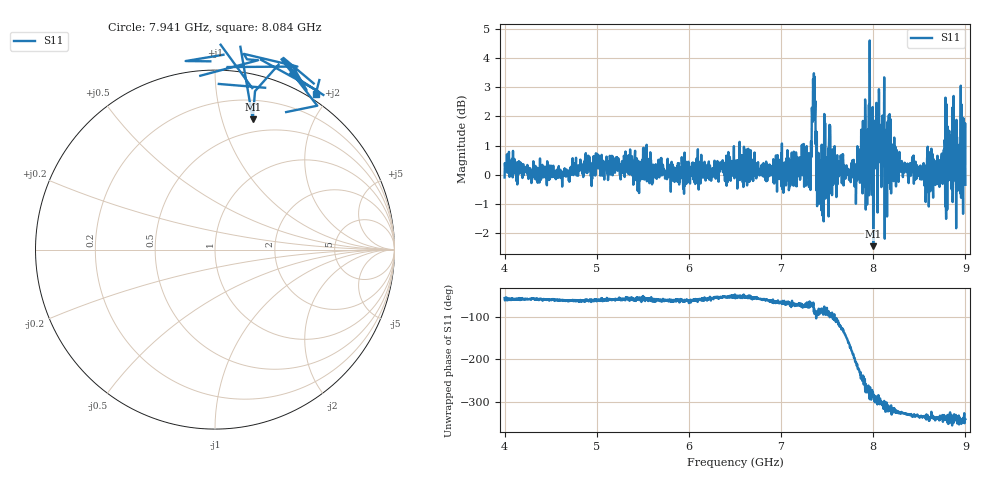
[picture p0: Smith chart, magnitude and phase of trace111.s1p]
! Created with skrf 1.8.0 (http://scikit-rf.org).
# Hz S RI R 50.0
!freq ReS11 ImS11
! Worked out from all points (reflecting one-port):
!   1601 points, 4 GHz to 9 GHz, reference 50 ohm
!   lowest |S11| = -2.4 dB at 8 GHz (marker M1), VSWR 7.19, Z = 18.6 + j63.1 ohm
!   phase of S11 starts at -56 deg and turns -285 deg over the sweep
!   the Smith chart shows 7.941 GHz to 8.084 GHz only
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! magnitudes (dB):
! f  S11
! 4 GHz  -0.1
! 4.625 GHz  -0.4
! 5.25 GHz  0.0
! 5.875 GHz  0.0
! 6.5 GHz  0.1
! 7.125 GHz  0.0
! 7.297 GHz  0.7
! 7.356 GHz  3.5
! 7.403 GHz  -0.4
! 7.438 GHz  -1.2
! 7.512 GHz  0.9
! 7.75 GHz  0.1
! 7.819 GHz  0.4
! 7.891 GHz  -0.4
! 7.944 GHz  0.7
! 7.962 GHz  4.6
! 8 GHz  -2.4
! 8.097 GHz  0.5
! 8.15 GHz  -1.4
! 8.178 GHz  2.1
! 8.209 GHz  0.5
! 8.375 GHz  0.1
! 8.553 GHz  -0.3
! 8.738 GHz  0.1
! 8.819 GHz  0.5
! 8.919 GHz  0.1
! 8.956 GHz  0.4
! 9 GHz  -0.3
